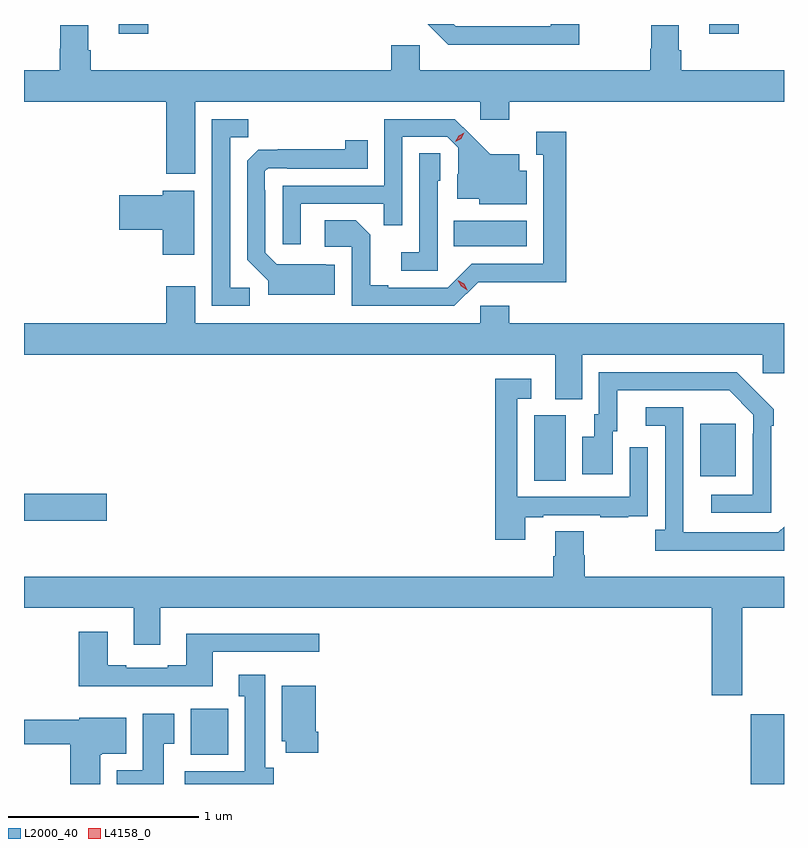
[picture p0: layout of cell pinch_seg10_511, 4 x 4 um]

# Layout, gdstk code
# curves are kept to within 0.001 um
import gdstk
lib = gdstk.Library(unit=1e-6, precision=1e-09)
def R(c, l, rs):  # rectangles x0, y0, x1, y1
    for r in rs: c.add(gdstk.rectangle(r[:2], r[2:], *l))
def P(c, l, *ps):  # polygons
    for p in ps: c.add(gdstk.Polygon(p, *l))
L2000_40 = (2000, 40)
L4158_0 = (4158, 0)

pinch_seg10_511 = lib.new_cell('pinch_seg10_511')
R(pinch_seg10_511, L2000_40, [(224.18,1270.084,224.354,1270.45), (221.231,1270.238,221.428,1270.48), (220.354,1271.47,220.789,1271.612), (223.04,1271.68,223.204,1272.024), (223.913,1271.705,224.101,1271.98), (222.616,1272.914,223,1273.048), (220.853,1274.034,221.009,1274.084), (223.961,1274.034,224.117,1274.084)])
P(pinch_seg10_511, L2000_40, [(223.276,1274.084),(223.127,1274.084),(223.127,1274.073),(222.627,1274.073),(222.616,1274.084),(222.478,1274.084),(222.586,1273.976),(223.276,1273.976)],
  [(221.254,1273.676),(222.756,1273.676),(222.756,1273.581),(222.908,1273.581),(222.908,1273.676),(224.354,1273.676),(224.354,1273.84),(223.814,1273.84),(223.814,1273.946),(223.801,1273.946),(223.801,1274.078),(223.654,1274.078),(223.654,1273.953),(223.649,1273.953),(223.649,1273.84),(222.438,1273.84),(222.438,1273.972),(222.287,1273.972),(222.287,1273.84),(220.706,1273.84),(220.706,1273.946),(220.693,1273.946),(220.693,1274.078),(220.546,1274.078),(220.546,1273.953),(220.541,1273.953),(220.541,1273.84),(220.354,1273.84),(220.354,1273.676),(221.102,1273.676),(221.102,1273.296),(221.254,1273.296)],
  [(221.542,1272.696),(221.439,1272.696),(221.439,1273.489),(221.535,1273.489),(221.535,1273.584),(221.343,1273.584),(221.343,1272.6),(221.542,1272.6)],
  [(221.811,1273.137),(222.247,1273.137),(222.247,1273.024),(222.345,1273.024),(222.345,1273.491),(222.582,1273.491),(222.639,1273.434),(222.639,1273.292),(222.635,1273.292),(222.635,1273.163),(222.75,1273.163),(222.75,1273.136),(223,1273.136),(223,1273.312),(222.961,1273.312),(222.961,1273.399),(222.809,1273.399),(222.622,1273.584),(222.249,1273.584),(222.249,1273.233),(221.715,1273.233),(221.715,1272.924),(221.811,1272.924)],
  [(222.744,1272.726),(223.207,1272.725),(223.207,1273.516),(223.049,1273.516),(223.049,1273.395),(223.088,1273.395),(223.088,1272.822),(222.711,1272.822),(222.585,1272.696),(222.271,1272.696),(222.271,1272.709),(222.177,1272.709),(222.177,1272.976),(222.101,1273.052),(221.937,1273.052),(221.937,1272.912),(222.078,1272.912),(222.078,1272.6),(222.618,1272.6)],
  [(221.989,1272.817),(221.945,1272.817),(221.942,1272.82),(221.685,1272.819),(221.625,1272.879),(221.625,1273.208),(221.622,1273.208),(221.622,1273.308),(221.64,1273.326),(221.74,1273.326),(221.74,1273.323),(222.164,1273.323),(222.164,1273.471),(222.046,1273.471),(222.046,1273.424),(221.588,1273.423),(221.529,1273.364),(221.529,1272.842),(221.639,1272.732),(221.639,1272.659),(221.989,1272.659)],
  [(222.531,1273.26),(222.546,1273.26),(222.546,1273.403),(222.435,1273.403),(222.435,1272.883),(222.339,1272.883),(222.339,1272.786),(222.531,1272.786)],
  [(221.251,1273.207),(221.084,1273.207),(221.084,1273.184),(220.854,1273.184),(220.854,1273.001),(221.084,1273.001),(221.084,1272.87),(221.251,1272.87)],
  [(223.291,1272.344),(224.241,1272.344),(224.241,1272.246),(224.354,1272.246),(224.354,1272.508),(222.908,1272.508),(222.908,1272.601),(222.756,1272.601),(222.756,1272.508),(221.254,1272.508),(221.254,1272.703),(221.102,1272.703),(221.102,1272.508),(220.354,1272.508),(220.354,1272.344),(223.151,1272.344),(223.151,1272.109),(223.291,1272.109)],
  [(224.286,1271.969),(224.301,1271.969),(224.301,1272.057),(224.104,1272.252),(223.38,1272.252),(223.38,1272.03),(223.355,1272.03),(223.355,1271.911),(223.292,1271.911),(223.292,1271.715),(223.453,1271.715),(223.453,1271.94),(223.477,1271.94),(223.477,1272.156),(224.065,1272.156),(224.193,1272.027),(224.193,1271.927),(224.19,1271.927),(224.19,1271.607),(223.971,1271.607),(223.971,1271.511),(224.286,1271.511)],
  [(222.991,1271.487),(223.087,1271.487),(223.087,1271.499),(223.387,1271.499),(223.387,1271.487),(223.535,1271.487),(223.535,1271.493),(223.637,1271.493),(223.637,1271.602),(223.638,1271.602),(223.638,1271.857),(223.542,1271.857),(223.542,1271.595),(222.951,1271.595),(222.951,1272.111),(223.024,1272.111),(223.024,1272.217),(222.835,1272.217),(222.835,1271.37),(222.991,1271.37)],
  [(224.354,1271.438),(224.325,1271.409),(223.825,1271.409),(223.824,1272.066),(223.626,1272.066),(223.626,1271.97),(223.728,1271.97),(223.728,1271.422),(223.677,1271.422),(223.677,1271.312),(224.354,1271.312)],
  [(224.133,1271.012),(224.354,1271.012),(224.354,1271.176),(223.304,1271.176),(223.304,1271.289),(223.299,1271.289),(223.299,1271.414),(223.151,1271.414),(223.151,1271.282),(223.139,1271.282),(223.139,1271.176),(220.354,1271.176),(220.354,1271.012),(220.931,1271.012),(220.931,1270.818),(221.071,1270.818),(221.071,1271.012),(223.973,1271.012),(223.973,1270.551),(224.133,1270.551)],
  [(221.347,1270.779),(221.908,1270.779),(221.908,1270.876),(221.207,1270.876),(221.207,1270.708),(221.111,1270.708),(221.111,1270.695),(220.891,1270.695),(220.891,1270.708),(220.795,1270.708),(220.795,1270.885),(220.643,1270.885),(220.643,1270.598),(221.347,1270.598)],
  [(221.668,1270.17),(221.623,1270.17),(221.623,1270.66),(221.483,1270.66),(221.483,1270.547),(221.516,1270.547),(221.516,1270.15),(221.199,1270.15),(221.199,1270.084),(221.668,1270.084)],
  [(221.903,1270.36),(221.89,1270.36),(221.89,1270.6),(221.711,1270.6),(221.711,1270.308),(221.732,1270.308),(221.732,1270.248),(221.903,1270.248)],
  [(221.089,1270.297),(221.146,1270.297),(221.146,1270.453),(220.979,1270.453),(220.979,1270.156),(220.841,1270.156),(220.841,1270.084),(221.089,1270.084)],
  [(220.756,1270.238),(220.762,1270.238),(220.762,1270.244),(220.891,1270.244),(220.891,1270.432),(220.644,1270.432),(220.644,1270.421),(220.354,1270.421),(220.354,1270.293),(220.598,1270.293),(220.598,1270.084),(220.756,1270.084)])
P(pinch_seg10_511, L4158_0, [(222.687,1272.684),(222.655,1272.703),(222.638,1272.735),(222.638,1272.735),(222.638,1272.735),(222.67,1272.717),(222.687,1272.684),(222.687,1272.684)],
  [(222.624,1273.465),(222.624,1273.465),(222.641,1273.495),(222.671,1273.511),(222.672,1273.511),(222.672,1273.511),(222.655,1273.481),(222.624,1273.465)])

lib.write_gds('pinch_seg10_511.gds')
